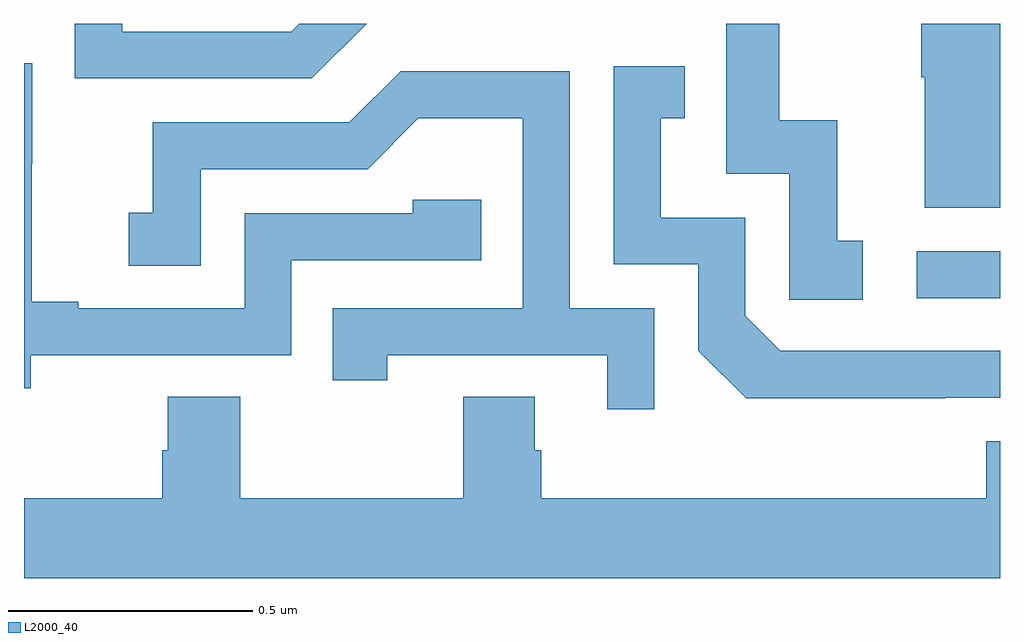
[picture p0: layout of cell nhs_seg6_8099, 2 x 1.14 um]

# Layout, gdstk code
import gdstk
lib = gdstk.Library(unit=1e-6, precision=1e-09)
def R(c, l, rs):  # rectangles x0, y0, x1, y1
    for r in rs: c.add(gdstk.rectangle(r[:2], r[2:], *l))
def P(c, l, *ps):  # polygons
    for p in ps: c.add(gdstk.Polygon(p, *l))
L2000_40 = (2000, 40)

nhs_seg6_8099 = lib.new_cell('nhs_seg6_8099')
R(nhs_seg6_8099, L2000_40, [(218.829,919.938,219,920.034)])
P(nhs_seg6_8099, L2000_40, [(219,920.5),(218.839,920.5),(218.839,920.39),(218.846,920.39),(218.846,920.123),(219,920.123)],
  [(217.702,920.5),(217.564,920.5),(217.548,920.484),(217.201,920.484),(217.201,920.5),(217.104,920.5),(217.104,920.388),(217.59,920.388)],
  [(218.719,920.055),(218.666,920.055),(218.666,920.302),(218.548,920.302),(218.548,920.5),(218.439,920.5),(218.439,920.193),(218.568,920.193),(218.568,919.935),(218.719,919.935)],
  [(217.014,919.821),(217.548,919.821),(217.548,920.016),(217.937,920.016),(217.937,920.139),(217.797,920.139),(217.797,920.112),(217.452,920.112),(217.452,919.917),(217.111,919.917),(217.111,919.93),(217.016,919.93),(217.016,920.213),(217.017,920.213),(217.017,920.419),(217,920.419),(217,919.753),(217.014,919.753)],
  [(218.888,919.734),(219,919.734),(219,919.83),(218.55,919.83),(218.478,919.902),(218.478,920.103),(218.305,920.103),(218.305,920.307),(218.354,920.307),(218.354,920.413),(218.208,920.413),(218.208,920.007),(218.382,920.007),(218.382,919.83),(218.48,919.733),(218.888,919.733)],
  [(218.292,919.917),(218.118,919.917),(218.118,920.403),(217.772,920.403),(217.667,920.298),(217.264,920.298),(217.264,920.113),(217.215,920.113),(217.215,920.004),(217.362,920.004),(217.362,920.202),(217.704,920.202),(217.808,920.306),(218.022,920.306),(218.022,919.917),(217.633,919.917),(217.633,919.77),(217.744,919.77),(217.744,919.821),(218.195,919.821),(218.195,919.71),(218.292,919.71)],
  [(219,919.645),(218.972,919.645),(218.972,919.528),(218.06,919.528),(218.06,919.626),(218.047,919.626),(218.047,919.736),(217.9,919.736),(217.9,919.528),(217.443,919.528),(217.443,919.736),(217.295,919.736),(217.295,919.626),(217.283,919.626),(217.283,919.528),(217,919.528),(217,919.364),(219,919.364)])

lib.write_gds('nhs_seg6_8099.gds')
